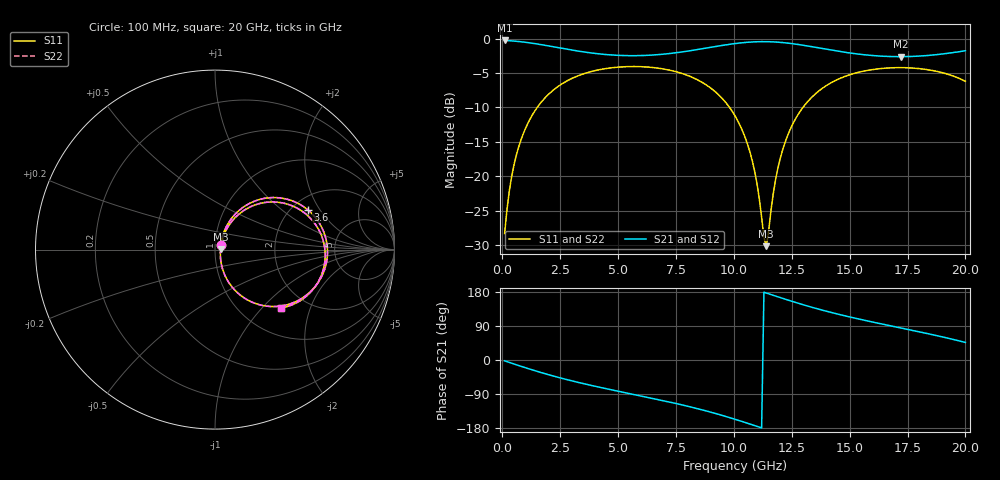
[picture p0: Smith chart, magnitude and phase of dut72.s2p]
! Touchstone file exported from HFSS 2026.1.0
!  File:  C:/ffzhzh/LocalFiles/Ansys_Project_Files/temp_train_TSV_RDL_72_1782970106_15332.aedt
!  Generated:  01:46:11 PM Jul  2, 2026
!  Design:  TSV_RDL
!  Project:  temp_train_TSV_RDL_72_1782970106_15332
! Variables:
!  h_bsmrdl = 5.74um
!  h_ox = 20um
!  h_rdl = 5um
!  h_sub = 56.47um
!  h_tmrdl = 2.22um
!  h_tsv = 56.47um
!  h_via = 3um
!  l_bsmrdl = 695.41um
!  l_sub = 5739.73um
!  l_tmrdl = 780.21um
!  m_sub = 200um
!  pitch = 58.64um
!  r_tsv = 3.32um
!  s_tmrdl = 10um
!  w_bsmrdl = 14.71um
!  w_sub = 500um
!  w_tmrdl = 29.51um
!  x_tsv_center1 = 794.965um
!  x_tsv_center2 = 1505.085um
!  x_tsv_center3 = 2314.805um
!  x_tsv_center4 = 3024.925um
!  x_tsv_center5 = 3834.645um
!  x_tsv_center6 = 4544.765um
# GHz S MA R 50.000000
! Terminal data exported
! Port[1] = TM_RDL1_1_T1
! Port[2] = TM_RDL5_1_T1
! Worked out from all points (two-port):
!   200 points, 100 MHz to 20 GHz, reference 50 ohm
!   highest |S21| = -0.27 dB at 100 MHz (marker M1); lowest = -2.6 dB at 17.2 GHz (marker M2)
!   |S21| within 3 dB of the highest: start of sweep to end of sweep
!   lowest |S11| = -30.1 dB at 11.4 GHz (marker M3), VSWR 1.06, Z = 53.2 + j0.0824 ohm
!   |S11| at or under -10 dB: start of sweep to 1.507 GHz; 9.815 GHz to 12.98 GHz (3.168 GHz wide, 27.8 % of centre)
!   |S22| runs from -30.3 to -4.1 dB; largest |S21 - S12| = 1.7e-14
!   S11 on the Smith chart (normalised r, x): 100 MHz: 1.06, +0.05; 3.6 GHz: 2.41, +1.57; 20 GHz: 1.50, -1.28
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0.1  0.03846 36.9  0.9698 -2.2  0.9698 -2.2  0.03846 36.9
! Gamma 0 0 0 0
! Port Impedance 50 0 50 0
0.3  0.07772 59.6  0.9658 -6.4  0.9658 -6.4  0.07772 59.6
0.5  0.1201 63.5  0.9602 -10.5  0.9602 -10.5  0.1201 63.5
1.1  0.242 59.4  0.9359 -22.4  0.9359 -22.4  0.242 59.4
2.1  0.4089 44.7  0.8788 -40.5  0.8788 -40.5  0.4089 44.7
3.5  0.5547 24.7  0.8013 -62.3  0.8013 -62.3  0.5547 24.7
3.6  0.5616 23.4  0.7968 -63.7  0.7968 -63.7  0.5617 23.4
5.2  0.6241 3.3  0.7539 -84.8  0.7539 -84.8  0.6241 3.3
6.8  0.6079 -16.1  0.7668 -105.2  0.7668 -105.2  0.608 -16.2
8.6  0.4849 -40.3  0.8422 -131.1  0.8422 -131.1  0.4849 -40.4
10.1  0.2659 -62.8  0.9229 -157.3  0.9229 -157.3  0.2659 -62.9
10.8  0.129 -69.0  0.9461 -171.1  0.9461 -171.1  0.1289 -69.2
11.4  0.03113 1.4  0.9507 176.8  0.9507 176.8  0.03053 1.4
11.8  0.09419 58.3  0.9451 168.7  0.9451 168.7  0.09394 58.6
12.1  0.1543 60.1  0.9366 162.7  0.9366 162.7  0.1541 60.3
12.7  0.2679 53.8  0.9109 151.2  0.9109 151.2  0.2678 53.9
13.4  0.3802 43.5  0.8722 138.6  0.8722 138.6  0.3802 43.6
15.1  0.5528 19.6  0.7828 112.2  0.7828 112.2  0.5528 19.6
16.7  0.6127 -0.3  0.7418 91.0  0.7418 91.0  0.6127 -0.3
17.2  0.6157 -6.2  0.7396 84.7  0.7396 84.7  0.6157 -6.2
18.6  0.5858 -23.2  0.7605 66.5  0.7605 66.5  0.5858 -23.2
20  0.4901 -41.6  0.8165 46.4  0.8165 46.4  0.4901 -41.6
